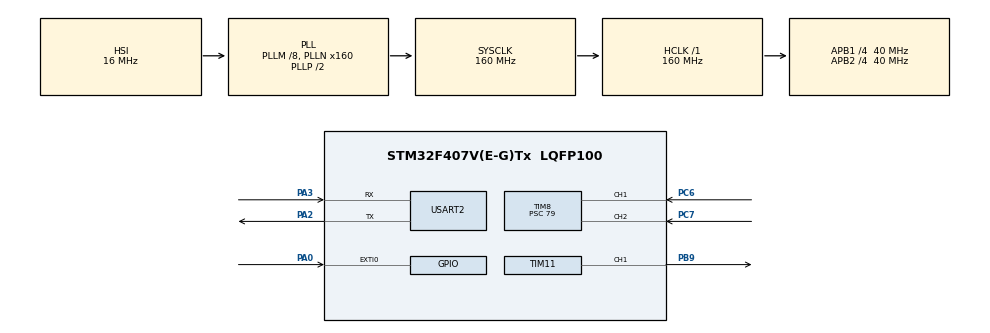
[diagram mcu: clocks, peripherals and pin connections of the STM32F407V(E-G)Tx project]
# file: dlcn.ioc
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Mcu.Family=STM32F4
Mcu.Name=STM32F407V(E-G)Tx
Mcu.Package=LQFP100
NVIC.EXTI0_IRQn=true\:1\:0\:true\:false\:true\:true\:true
NVIC.PriorityGroup=NVIC_PRIORITYGROUP_4
PA0-WKUP.GPIO_ModeDefaultEXTI=GPIO_MODE_IT_RISING
PA0-WKUP.Signal=GPXTI0
PA2.Mode=Asynchronous
PA2.Signal=USART2_TX
PA3.Mode=Asynchronous
PA3.Signal=USART2_RX
PB9.Signal=S_TIM11_CH1
PC6.Signal=S_TIM8_CH1
PC7.Signal=S_TIM8_CH2
ProjectManager.HeapSize=0x200
ProjectManager.StackSize=0x400
ProjectManager.TargetToolchain=MDK-ARM V5
RCC.48MHZClocksFreq_Value=80000000
RCC.AHBFreq_Value=160000000
RCC.APB1CLKDivider=RCC_HCLK_DIV4
RCC.APB1Freq_Value=40000000
RCC.APB1TimFreq_Value=80000000
RCC.APB2CLKDivider=RCC_HCLK_DIV4
RCC.APB2Freq_Value=40000000
RCC.APB2TimFreq_Value=80000000
RCC.CortexFreq_Value=160000000
RCC.HCLKFreq_Value=160000000
RCC.HSE_VALUE=25000000
RCC.HSI_VALUE=16000000
RCC.LSE_VALUE=32768
RCC.PLLM=8
RCC.PLLN=160
RCC.SYSCLKFreq_VALUE=160000000
RCC.SYSCLKSource=RCC_SYSCLKSOURCE_PLLCLK
RCC.VCOOutputFreq_Value=320000000
SH.S_TIM11_CH1.0=TIM11_CH1,PWM Generation1 CH1
SH.S_TIM8_CH1.0=TIM8_CH1,Input_Capture1_from_TI1
SH.S_TIM8_CH2.0=TIM8_CH2,Input_Capture2_from_TI2
SH.S_TIM8_CH2.1=TIM8_CH2,TriggerSource_TI2FP2
TIM11.Channel=TIM_CHANNEL_1
TIM11.Period=39999
TIM11.Prescaler=199
TIM8.Channel-Input_Capture1_from_TI1=TIM_CHANNEL_1
TIM8.Channel-Input_Capture2_from_TI2=TIM_CHANNEL_2
TIM8.ICPolarity_CH1=TIM_INPUTCHANNELPOLARITY_BOTHEDGE
TIM8.ICPolarity_CH2=TIM_INPUTCHANNELPOLARITY_BOTHEDGE
TIM8.Prescaler=79
USART2.VirtualMode=VM_ASYNC
VP_TIM11_VS_ClockSourceINT.Mode=Enable_Timer
VP_TIM8_VS_ControllerModeReset.Mode=Reset Mode
board=custom

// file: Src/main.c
/* USER CODE BEGIN Header */
//PB9-TRIG     PC6-ECHO
/**
  ******************************************************************************
  * @file           : main.c
  * @brief          : Main program body
  ******************************************************************************
  * @attention
  *
  * <h2><center>&copy; Copyright (c) 2021 STMicroelectronics.
  * All rights reserved.</center></h2>
  *
  * This software component is licensed by ST under BSD 3-Clause license,
  * the "License"; You may not use this file except in compliance with the
  * License. You may obtain a copy of the License at:
  *                        opensource.org/licenses/BSD-3-Clause
  *
  ******************************************************************************
  */
/* USER CODE END Header */
#include "main.h"
#include "tim.h"
#include "usart.h"
#include "gpio.h"

/* USER CODE BEGIN Includes */
#include "stdio.h"

/* USER CODE END Includes */

/* USER CODE BEGIN PV */
#ifdef __GNUC__
#define PUTCHAR_PROTOTYPE int __io_putchar(int ch)
#else
#define PUTCHAR_PROTOTYPE int fputc(int ch, FILE *f)
#endif /* __GNUC__ */

PUTCHAR_PROTOTYPE{
	HAL_UART_Transmit(&huart2,(uint8_t *)&ch,1,10);

return ch;
}
uint32_t echo1,echo2,delay;
uint32_t bien=0;
double dis1,disreal,G,alpha,echocalib,c,d;
double a=3.0;
double b=10.0;
/* USER CODE END PV */

void SystemClock_Config(void);

int main(void)
{

  /* MCU Configuration--------------------------------------------------------*/

  /* Reset of all peripherals, Initializes the Flash interface and the Systick. */
  HAL_Init();

  /* Configure the system clock */
  SystemClock_Config();

  /* Initialize all configured peripherals */
  MX_GPIO_Init();
  MX_TIM8_Init();
  MX_TIM11_Init();
  MX_USART2_UART_Init();
  /* USER CODE BEGIN 2 */
	HAL_TIM_Base_Start(&htim11);
	HAL_TIM_Base_Start(&htim11);
	HAL_TIM_PWM_Start(&htim11, TIM_CHANNEL_1);
	HAL_TIM_IC_Start(&htim8 ,TIM_CHANNEL_1);
 // HAL_TIM_IC_Start(&htim8 ,TIM_CHANNEL_2);
	TIM11->CCR1=3;
  /* USER CODE END 2 */

  /* Infinite loop */
  /* USER CODE BEGIN WHILE */
  while (1)
  {
		if (HAL_GetTick()-delay >=100)
		{
			delay=HAL_GetTick();
			echo1=HAL_TIM_ReadCapturedValue(&htim8,TIM_CHANNEL_1);
			//echo2=HAL_TIM_ReadCapturedValue(&htim8,TIM_CHANNEL_2);
			G=(58*(a-b)/(c-d));
			alpha=58*a-G*c;
			echocalib=echo1*G+alpha;
			dis1=echo1/ 58.0f;
			disreal=echocalib/58.0;
			//dis2=echo2/ 58.0f;
			//printf("Echo1: %u Dis1: \r\n",echo1,dis1);
		}
    /* USER CODE END WHILE */

  }
}

void SystemClock_Config(void)
{
  RCC_OscInitTypeDef RCC_OscInitStruct = {0};
  RCC_ClkInitTypeDef RCC_ClkInitStruct = {0};

  /** Configure the main internal regulator output voltage
  */
  __HAL_RCC_PWR_CLK_ENABLE();
  __HAL_PWR_VOLTAGESCALING_CONFIG(PWR_REGULATOR_VOLTAGE_SCALE1);
  /** Initializes the RCC Oscillators according to the specified parameters
  * in the RCC_OscInitTypeDef structure.
  */
  RCC_OscInitStruct.OscillatorType = RCC_OSCILLATORTYPE_HSI;
  RCC_OscInitStruct.HSIState = RCC_HSI_ON;
  RCC_OscInitStruct.HSICalibrationValue = RCC_HSICALIBRATION_DEFAULT;
  RCC_OscInitStruct.PLL.PLLState = RCC_PLL_ON;
  RCC_OscInitStruct.PLL.PLLSource = RCC_PLLSOURCE_HSI;
  RCC_OscInitStruct.PLL.PLLM = 8;
  RCC_OscInitStruct.PLL.PLLN = 160;
  RCC_OscInitStruct.PLL.PLLP = RCC_PLLP_DIV2;
  RCC_OscInitStruct.PLL.PLLQ = 4;
  if (HAL_RCC_OscConfig(&RCC_OscInitStruct) != HAL_OK)
  {
    Error_Handler();
  }
  /** Initializes the CPU, AHB and APB buses clocks
  */
  RCC_ClkInitStruct.ClockType = RCC_CLOCKTYPE_HCLK|RCC_CLOCKTYPE_SYSCLK
                              |RCC_CLOCKTYPE_PCLK1|RCC_CLOCKTYPE_PCLK2;
  RCC_ClkInitStruct.SYSCLKSource = RCC_SYSCLKSOURCE_PLLCLK;
  RCC_ClkInitStruct.AHBCLKDivider = RCC_SYSCLK_DIV1;
  RCC_ClkInitStruct.APB1CLKDivider = RCC_HCLK_DIV4;
  RCC_ClkInitStruct.APB2CLKDivider = RCC_HCLK_DIV4;

  if (HAL_RCC_ClockConfig(&RCC_ClkInitStruct, FLASH_LATENCY_5) != HAL_OK)
  {
    Error_Handler();
  }
}

void Error_Handler(void)
{
  __disable_irq();
  while (1)
  {
  }
}
void HAL_GPIO_EXTI_Callback(uint16_t GPIO_Pin)
{
	if((bien/2)%2==1)
		c=echo1;
	if((bien/2)%2==0)
		d=echo1;
	bien++;
	HAL_Delay(300);
}

/************************ (C) COPYRIGHT STMicroelectronics *****END OF FILE****/
